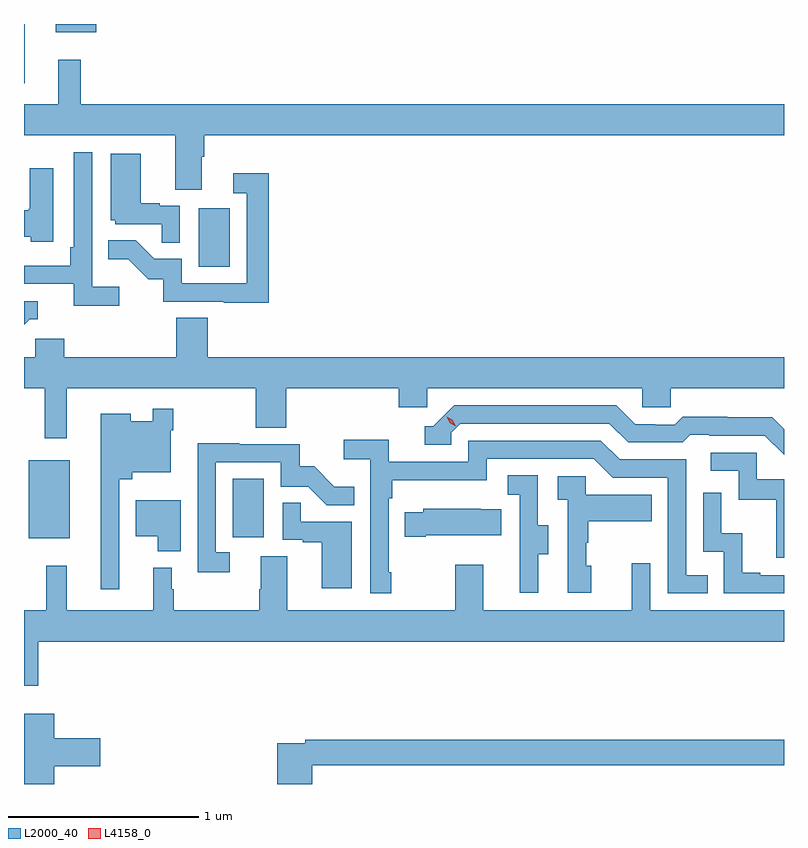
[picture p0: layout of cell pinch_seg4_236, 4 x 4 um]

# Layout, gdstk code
import gdstk
lib = gdstk.Library(unit=1e-6, precision=1e-09)
def R(c, l, rs):  # rectangles x0, y0, x1, y1
    for r in rs: c.add(gdstk.rectangle(r[:2], r[2:], *l))
def P(c, l, *ps):  # polygons
    for p in ps: c.add(gdstk.Polygon(p, *l))
L2000_40 = (2000, 40)
L4158_0 = (4158, 0)

pinch_seg4_236 = lib.new_cell('pinch_seg4_236')
R(pinch_seg4_236, L2000_40, [(899.732,825.335,899.947,825.745), (900.806,825.342,900.97,825.649), (900.626,826.764,900.79,827.071), (899.707,827.73,899.71,828.042), (899.873,827.999,900.088,828.042)])
P(pinch_seg4_236, L2000_40, [(900.643,827.344),(900.656,827.344),(900.656,827.456),(903.707,827.456),(903.707,827.62),(900.005,827.62),(900.005,827.854),(899.888,827.854),(899.888,827.62),(899.707,827.62),(899.707,827.456),(900.503,827.456),(900.503,827.17),(900.643,827.17)],
  [(900.208,826.66),(900.066,826.66),(900.066,827.368),(899.97,827.368),(899.97,826.867),(899.95,826.867),(899.95,826.77),(899.707,826.77),(899.707,826.674),(899.969,826.674),(899.969,826.558),(900.208,826.558)],
  [(900.528,827.085),(900.422,827.085),(900.422,827.098),(900.322,827.098),(900.322,827.359),(900.164,827.359),(900.164,827.01),(900.186,827.01),(900.186,826.989),(900.433,826.989),(900.433,826.891),(900.528,826.891)],
  [(899.86,827.284),(899.738,827.284),(899.738,827.07),(899.731,827.07),(899.731,827.062),(899.707,827.062),(899.707,826.922),(899.742,826.922),(899.742,826.895),(899.86,826.895)],
  [(900.995,827.257),(900.807,827.257),(900.807,827.151),(900.879,827.151),(900.879,826.677),(900.537,826.677),(900.537,826.806),(900.393,826.806),(900.295,826.904),(900.151,826.904),(900.151,826.805),(900.255,826.805),(900.362,826.698),(900.439,826.698),(900.439,826.581),(900.757,826.581),(900.757,826.576),(900.995,826.576)],
  [(899.736,826.488),(899.779,826.488),(899.779,826.584),(899.707,826.584),(899.707,826.459)],
  [(899.932,826.124),(900.928,826.124),(900.928,825.916),(901.088,825.916),(901.088,826.124),(901.679,826.124),(901.679,826.026),(901.83,826.026),(901.83,826.124),(902.961,826.124),(902.961,826.026),(903.111,826.026),(903.111,826.124),(903.707,826.124),(903.707,826.288),(900.674,826.288),(900.674,826.496),(900.509,826.496),(900.509,826.288),(899.918,826.288),(899.918,826.386),(899.766,826.386),(899.766,826.288),(899.707,826.288),(899.707,826.124),(899.815,826.124),(899.815,825.861),(899.932,825.861)],
  [(903.707,825.91),(903.644,825.973),(903.408,825.973),(903.408,825.976),(903.175,825.976),(903.133,825.933),(903.03,825.933),(903.03,825.936),(902.923,825.936),(902.824,826.035),(901.971,826.035),(901.86,825.924),(901.817,825.924),(901.817,825.828),(901.956,825.828),(901.956,825.891),(902.004,825.939),(902.787,825.939),(902.886,825.84),(903.175,825.84),(903.214,825.879),(903.313,825.879),(903.313,825.876),(903.606,825.876),(903.707,825.775)],
  [(900.207,825.647),(900.276,825.647),(900.276,825.683),(900.48,825.683),(900.48,825.905),(900.493,825.905),(900.493,826.018),(900.384,826.018),(900.384,825.952),(900.268,825.952),(900.268,825.991),(900.11,825.991),(900.11,825.066),(900.207,825.066)],
  [(901.639,825.157),(901.626,825.157),(901.626,825.545),(901.646,825.545),(901.646,825.641),(902.142,825.641),(902.142,825.753),(902.706,825.753),(902.805,825.654),(903.096,825.654),(903.096,825.045),(903.305,825.045),(903.305,825.141),(903.192,825.141),(903.192,825.75),(902.842,825.75),(902.743,825.849),(902.046,825.849),(902.046,825.738),(901.628,825.738),(901.628,825.854),(901.389,825.854),(901.389,825.752),(901.53,825.752),(901.53,825.045),(901.639,825.045)],
  [(900.79,825.261),(900.717,825.261),(900.717,825.735),(901.059,825.735),(901.059,825.606),(901.203,825.606),(901.301,825.508),(901.445,825.508),(901.445,825.607),(901.341,825.607),(901.234,825.714),(901.158,825.714),(901.158,825.831),(900.839,825.831),(900.839,825.836),(900.621,825.836),(900.621,825.156),(900.79,825.156)],
  [(903.707,825.645),(903.564,825.645),(903.564,825.786),(903.321,825.786),(903.321,825.69),(903.468,825.69),(903.468,825.537),(903.667,825.537),(903.667,825.234),(903.707,825.234)],
  [(902.413,825.25),(902.467,825.25),(902.467,825.405),(902.412,825.405),(902.412,825.668),(902.253,825.668),(902.253,825.565),(902.316,825.565),(902.316,825.261),(902.315,825.261),(902.315,825.048),(902.413,825.048)],
  [(902.692,825.192),(902.667,825.192),(902.667,825.311),(902.677,825.311),(902.677,825.425),(903.011,825.425),(903.011,825.565),(902.664,825.565),(902.664,825.663),(902.517,825.663),(902.517,825.539),(902.568,825.539),(902.568,825.048),(902.692,825.048)],
  [(903.707,825.141),(903.583,825.141),(903.583,825.154),(903.488,825.154),(903.488,825.362),(903.378,825.362),(903.378,825.574),(903.282,825.574),(903.282,825.264),(903.39,825.264),(903.39,825.045),(903.707,825.045)],
  [(900.532,825.535),(900.296,825.535),(900.296,825.347),(900.41,825.347),(900.41,825.266),(900.532,825.266)],
  [(901.432,825.423),(901.163,825.423),(901.163,825.521),(901.068,825.521),(901.068,825.327),(901.175,825.327),(901.175,825.315),(901.274,825.315),(901.274,825.072),(901.432,825.072)],
  [(901.822,825.35),(902.219,825.35),(902.219,825.487),(902.111,825.487),(902.111,825.49),(901.809,825.49),(901.809,825.472),(901.711,825.472),(901.711,825.343),(901.822,825.343)],
  [(899.783,824.792),(903.707,824.792),(903.707,824.956),(903.003,824.956),(903.003,825.205),(902.906,825.205),(902.906,824.956),(902.125,824.956),(902.125,825.196),(901.978,825.196),(901.978,824.956),(901.093,824.956),(901.093,825.242),(900.953,825.242),(900.953,825.068),(900.946,825.068),(900.946,824.956),(900.496,824.956),(900.496,825.068),(900.484,825.068),(900.484,825.181),(900.386,825.181),(900.386,824.956),(899.933,824.956),(899.933,825.19),(899.823,825.19),(899.823,824.956),(899.707,824.956),(899.707,824.559),(899.783,824.559)],
  [(899.866,824.135),(900.109,824.135),(900.109,824.282),(899.866,824.282),(899.866,824.413),(899.707,824.413),(899.707,824.042),(899.866,824.042)],
  [(901.223,824.14),(903.707,824.14),(903.707,824.276),(901.186,824.276),(901.186,824.256),(901.04,824.256),(901.04,824.042),(901.223,824.042)])
P(pinch_seg4_236, L4158_0, [(901.979,825.925),(901.948,825.944),(901.932,825.976),(901.932,825.976),(901.932,825.976),(901.963,825.957),(901.98,825.925),(901.98,825.925)])

lib.write_gds('pinch_seg4_236.gds')
